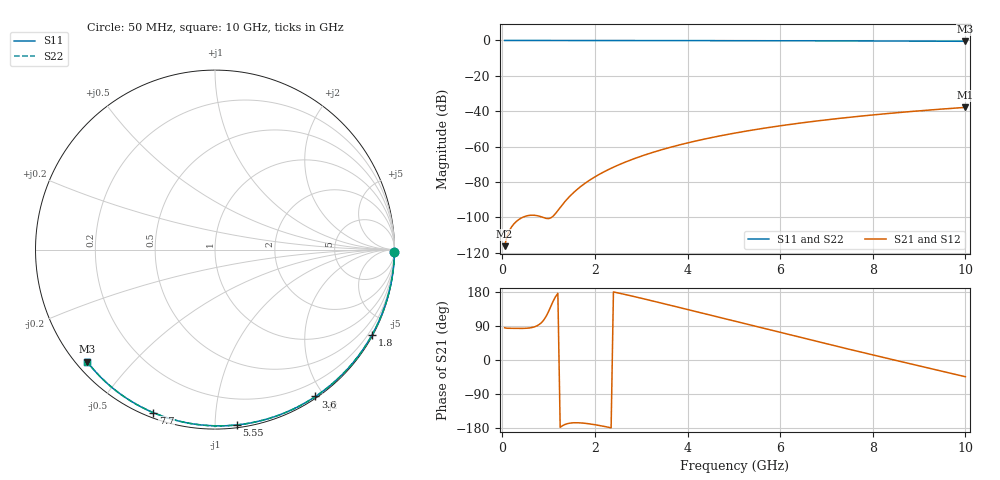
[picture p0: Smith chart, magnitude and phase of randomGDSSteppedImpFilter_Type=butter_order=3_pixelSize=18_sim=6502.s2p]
! freq	dB(S11)	phase(S11)	dB(S12)	phase(S12)
!  dB(S21)	phase(S21)	dB(S22)	phase(S22)
!S-par simulation data
#  GHz  S  DB  R 50
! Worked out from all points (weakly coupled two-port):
!   200 points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, 50 MHz to 10 GHz, reference 50 ohm
!   highest |S21| = -37.83 dB at 10 GHz (marker M1); lowest = -116.2 dB at 50 MHz (marker M2)
!   lowest |S11| = -0.5 dB at 10 GHz (marker M3), VSWR 36.92, Z = 1.55 - j18.8 ohm
!   |S11| at or under -10 dB: nowhere
!   |S22| runs from -0.5 to 0.0 dB; largest |S21 - S12| = 0
!   S11 on the Smith chart (normalised r, x): 50 MHz: open; 1.8 GHz: 0.03, -3.94; 3.6 GHz: 0.02, -1.90; 5.55 GHz: 0.02, -1.13; 7.7 GHz: 0.02, -0.69; 10 GHz: 0.03, -0.38
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0.05  -0.00 -0.8  -116.25 85.2  -116.25 85.2  -0.00 -0.8
0.45  -0.01 -7.2  -99.83 83.4  -99.83 83.4  -0.01 -7.2
0.9  -0.02 -14.4  -100.19 106.3  -100.19 106.3  -0.02 -14.4
1.75  -0.04 -27.7  -81.41 -166.6  -81.41 -166.6  -0.04 -27.7
1.8  -0.04 -28.5  -80.47 -167.2  -80.47 -167.2  -0.04 -28.5
1.85  -0.04 -29.3  -79.57 -168.0  -79.57 -168.0  -0.04 -29.3
2.05  -0.04 -32.3  -76.32 -171.8  -76.32 -171.8  -0.04 -32.3
2.25  -0.05 -35.4  -73.50 -176.5  -73.50 -176.5  -0.05 -35.4
2.55  -0.05 -40.0  -69.88 175.7  -69.88 175.7  -0.05 -40.0
2.95  -0.06 -46.0  -65.84 164.5  -65.84 164.5  -0.06 -46.0
3.4  -0.07 -52.7  -62.06 151.3  -62.06 151.3  -0.07 -52.7
3.6  -0.07 -55.6  -60.58 145.3  -60.58 145.3  -0.07 -55.6
3.9  -0.08 -60.0  -58.54 136.2  -58.54 136.2  -0.08 -60.0
4.3  -0.09 -65.7  -56.10 124.1  -56.10 124.1  -0.09 -65.7
5.05  -0.12 -76.2  -52.21 101.4  -52.21 101.4  -0.12 -76.2
5.55  -0.14 -83.0  -50.01 86.2  -50.01 86.2  -0.14 -83.0
6.1  -0.16 -90.3  -47.86 69.7  -47.86 69.7  -0.16 -90.3
6.7  -0.19 -98.1  -45.79 51.7  -45.79 51.7  -0.19 -98.1
7.7  -0.25 -110.7  -42.86 22.2  -42.86 22.2  -0.25 -110.7
8.35  -0.30 -118.8  -41.23 3.3  -41.23 3.3  -0.30 -118.8
9.2  -0.38 -129.1  -39.36 -21.2  -39.36 -21.2  -0.38 -129.1
10  -0.47 -138.8  -37.83 -44.1  -37.83 -44.1  -0.47 -138.8
